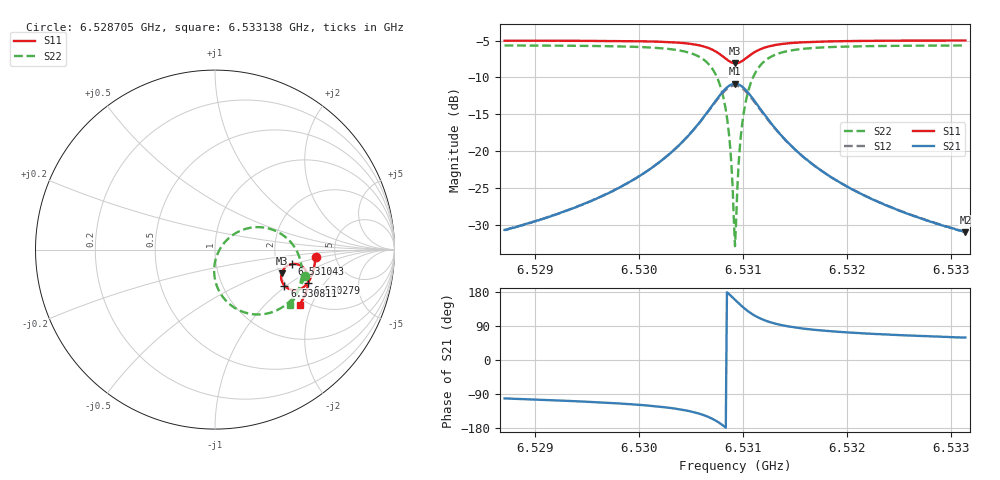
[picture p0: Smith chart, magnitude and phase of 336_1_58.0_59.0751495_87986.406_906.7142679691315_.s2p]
#  HZ  S  RI  R  50.00
! Rohde & Schwarz Vector Network Analyzer
! Rohde-Schwarz,ZNB20-2Port,1311601062101988,3.16
! Created: UTC 3/21/2024, 1:05:18 AM
! freq[Hz]  re:S11  im:S11  re:S21  im:S21  re:S12  im:S12  re:S22  im:S22
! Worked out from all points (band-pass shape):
!   401 points, 6.528705 GHz to 6.533138 GHz, reference 50 ohm
!   highest |S21| = -10.85 dB at 6.530921 GHz (marker M1); lowest = -31.0 dB at 6.533138 GHz (marker M2)
!   |S21| within 3 dB of the highest: 6.5307 GHz to 6.531143 GHz (443 kHz wide, 0.00678 % of centre)
!   lowest |S11| = -8.1 dB at 6.530921 GHz (marker M3), VSWR 2.30, Z = 102 - j31.9 ohm
!   |S11| at or under -10 dB: nowhere
!   |S22| runs from -32.9 to -5.7 dB; largest |S21 - S12| = 0.011
!   S11 on the Smith chart (normalised r, x): 6.528705 GHz: 3.51, -0.42; 6.530279 GHz: 2.62, -1.38; 6.530811 GHz: 1.95, -0.97; 6.531043 GHz: 2.43, -0.48; 6.533138 GHz: 1.82, -1.65
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6.5287047e9  0.5601 -0.0413  -0.00582 -0.0287  -0.00633 -0.0285  0.5004 -0.1457
6.5294473e9  0.5511 -0.1022  -0.0144 -0.0407  -0.0153 -0.0405  0.4722 -0.2131
6.5301899e9  0.5247 -0.1738  -0.0456 -0.0702  -0.0475 -0.069  0.3959 -0.3061
6.5302786e9  0.5179 -0.184  -0.0549 -0.0762  -0.0572 -0.0747  0.3759 -0.3205
6.5304892e9  0.4922 -0.2099  -0.0934 -0.0923  -0.0962 -0.0891  0.299 -0.3541
6.5306443e9  0.4545 -0.225  -0.1521 -0.0952  -0.1543 -0.0892  0.1908 -0.3569
6.5307441e9  0.4157 -0.2207  -0.2121 -0.072  -0.2118 -0.0634  0.088 -0.3092
6.5308106e9  0.387 -0.201  -0.2547 -0.0279  -0.2509 -0.0187  0.0216 -0.2284
6.530866e9  0.3705 -0.1702  -0.2762 0.032  -0.2686 0.0395  -0.00481 -0.1251
6.5308992e9  0.3684 -0.1473  -0.2755 0.0744  -0.2663 0.0799  0.00326 -0.0553
6.5309103e9  0.3693 -0.1393  -0.2724 0.0886  -0.2628 0.0933  0.0107 -0.0324
6.5309214e9  0.3712 -0.1316  -0.2678 0.1026  -0.2581 0.1063  0.0204 -0.01
6.5309325e9  0.3739 -0.1242  -0.2621 0.1161  -0.2522 0.1188  0.0322 0.0111
6.5309436e9  0.3772 -0.117  -0.2547 0.1287  -0.2452 0.1308  0.0459 0.0308
6.5309658e9  0.3862 -0.1043  -0.2372 0.1516  -0.2281 0.1519  0.0785 0.0652
6.5309879e9  0.3972 -0.0941  -0.2165 0.1696  -0.2081 0.1688  0.1157 0.0919
6.5310433e9  0.4284 -0.0806  -0.1597 0.1946  -0.154 0.192  0.2137 0.1239
6.5311209e9  0.4667 -0.0842  -0.0923 0.1928  -0.0893 0.1901  0.327 0.1085
6.5312318e9  0.4991 -0.1065  -0.0355 0.1632  -0.0341 0.1618  0.4194 0.0448
6.531664e9  0.5203 -0.182  0.0138 0.0807  0.0149 0.0804  0.4833 -0.1309
6.5324066e9  0.5001 -0.2549  0.0165 0.0388  0.0172 0.0385  0.4556 -0.2461
6.5331381e9  0.4718 -0.3083  0.0144 0.0243  0.015 0.024  0.42 -0.3082
